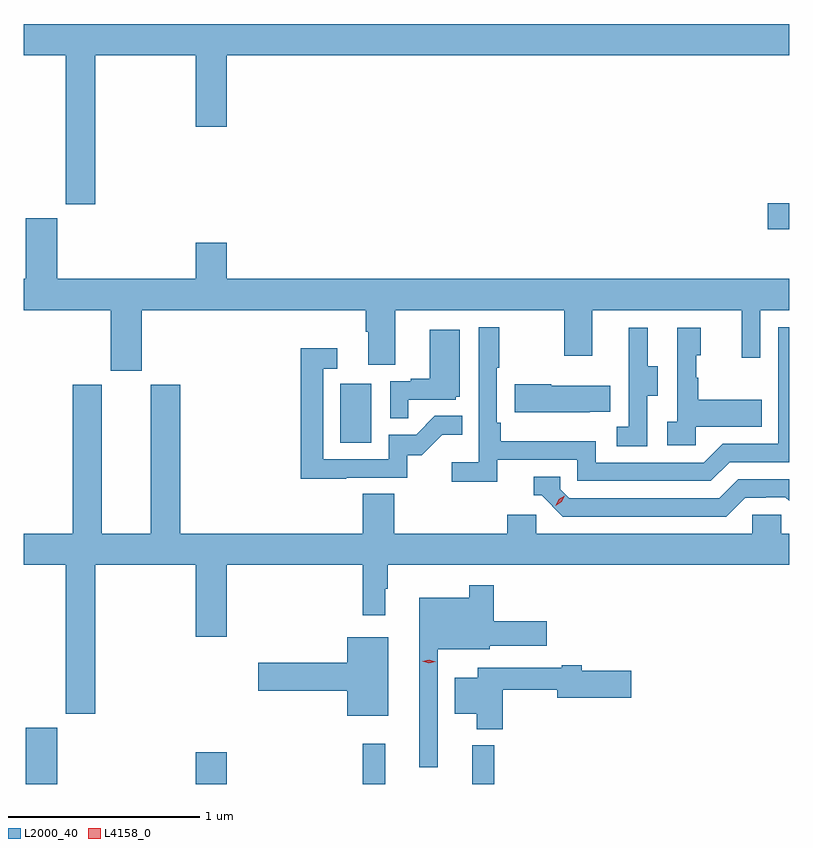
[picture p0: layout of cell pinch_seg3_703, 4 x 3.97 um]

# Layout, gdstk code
import gdstk
lib = gdstk.Library(unit=1e-6, precision=1e-09)
def R(c, l, rs):  # rectangles x0, y0, x1, y1
    for r in rs: c.add(gdstk.rectangle(r[:2], r[2:], *l))
def P(c, l, *ps):  # polygons
    for p in ps: c.add(gdstk.Polygon(p, *l))
L2000_40 = (2000, 40)
L4158_0 = (4158, 0)

pinch_seg3_703 = lib.new_cell('pinch_seg3_703')
R(pinch_seg3_703, L2000_40, [(1087.196,681.123,1087.36,681.417), (1088.084,681.123,1088.248,681.289), (1088.959,681.123,1089.077,681.334), (1089.53,681.123,1089.647,681.325), (1088.84,682.908,1089.004,683.215), (1091.076,684.023,1091.187,684.158)])
P(pinch_seg3_703, L2000_40, [(1087.559,684.932),(1088.084,684.932),(1088.084,684.558),(1088.248,684.558),(1088.248,684.932),(1091.187,684.932),(1091.187,685.096),(1087.187,685.096),(1087.187,684.932),(1087.406,684.932),(1087.406,684.153),(1087.559,684.153)],
  [(1087.804,683.6),(1088.975,683.6),(1088.975,683.488),(1088.987,683.488),(1088.987,683.314),(1089.127,683.314),(1089.127,683.6),(1090.012,683.6),(1090.012,683.361),(1090.159,683.361),(1090.159,683.6),(1090.94,683.6),(1090.94,683.352),(1091.037,683.352),(1091.037,683.6),(1091.187,683.6),(1091.187,683.764),(1088.248,683.764),(1088.248,683.953),(1088.084,683.953),(1088.084,683.764),(1087.36,683.764),(1087.36,684.081),(1087.196,684.081),(1087.196,683.764),(1087.187,683.764),(1087.187,683.6),(1087.64,683.6),(1087.64,683.283),(1087.804,683.283)],
  [(1089.662,682.818),(1090.08,682.818),(1090.08,682.707),(1090.777,682.707),(1090.876,682.806),(1091.187,682.806),(1091.187,683.511),(1091.13,683.511),(1091.13,682.902),(1090.839,682.902),(1090.74,682.803),(1090.176,682.803),(1090.176,682.915),(1089.68,682.915),(1089.68,683.011),(1089.66,683.011),(1089.66,683.299),(1089.673,683.299),(1089.673,683.512),(1089.564,683.512),(1089.564,682.804),(1089.423,682.804),(1089.423,682.702),(1089.662,682.702)],
  [(1090.446,683.152),(1090.501,683.152),(1090.501,683.307),(1090.447,683.307),(1090.447,683.509),(1090.349,683.509),(1090.349,683.295),(1090.35,683.295),(1090.35,682.991),(1090.287,682.991),(1090.287,682.888),(1090.446,682.888)],
  [(1090.698,682.991),(1091.045,682.991),(1091.045,683.131),(1090.711,683.131),(1090.711,683.246),(1090.701,683.246),(1090.701,683.364),(1090.726,683.364),(1090.726,683.509),(1090.602,683.509),(1090.602,683.018),(1090.551,683.018),(1090.551,682.893),(1090.698,682.893)],
  [(1089.197,683.133),(1089.444,683.133),(1089.444,683.148),(1089.466,683.148),(1089.466,683.497),(1089.308,683.497),(1089.308,683.242),(1089.209,683.242),(1089.209,683.229),(1089.102,683.229),(1089.102,683.035),(1089.197,683.035)],
  [(1088.873,682.725),(1089.192,682.725),(1089.192,682.842),(1089.268,682.842),(1089.375,682.949),(1089.479,682.949),(1089.479,683.048),(1089.335,683.048),(1089.237,682.95),(1089.093,682.95),(1089.093,682.821),(1088.751,682.821),(1088.751,683.295),(1088.824,683.295),(1088.824,683.401),(1088.635,683.401),(1088.635,682.72),(1088.873,682.72)],
  [(1090.145,683.069),(1090.253,683.069),(1090.253,683.206),(1089.943,683.206),(1089.943,683.214),(1089.752,683.214),(1089.752,683.066),(1090.145,683.066)],
  [(1088.957,682.432),(1088.003,682.432),(1088.003,683.211),(1087.85,683.211),(1087.85,682.432),(1087.594,682.432),(1087.594,683.211),(1087.442,683.211),(1087.442,682.432),(1087.187,682.432),(1087.187,682.268),(1087.406,682.268),(1087.406,681.489),(1087.559,681.489),(1087.559,682.268),(1088.084,682.268),(1088.084,681.894),(1088.248,681.894),(1088.248,682.268),(1088.959,682.268),(1088.959,682.005),(1089.076,682.005),(1089.076,682.145),(1089.088,682.145),(1089.088,682.268),(1091.187,682.268),(1091.187,682.432),(1091.145,682.432),(1091.145,682.53),(1090.995,682.53),(1090.995,682.432),(1089.864,682.432),(1089.864,682.53),(1089.713,682.53),(1089.713,682.432),(1089.122,682.432),(1089.122,682.64),(1088.957,682.64)],
  [(1090.957,682.62),(1091.064,682.62),(1091.064,682.623),(1091.167,682.623),(1091.187,682.603),(1091.187,682.716),(1090.92,682.716),(1090.821,682.617),(1090.038,682.617),(1089.99,682.665),(1089.99,682.728),(1089.851,682.728),(1089.851,682.632),(1089.894,682.632),(1090.005,682.521),(1090.858,682.521)],
  [(1089.351,681.827),(1089.621,681.827),(1089.621,681.845),(1089.919,681.845),(1089.919,681.975),(1089.644,681.975),(1089.644,682.162),(1089.516,682.162),(1089.516,682.096),(1089.254,682.096),(1089.254,681.21),(1089.351,681.21)],
  [(1089.091,681.889),(1088.876,681.889),(1088.876,681.758),(1088.412,681.758),(1088.412,681.611),(1088.876,681.611),(1088.876,681.479),(1089.091,681.479)],
  [(1089.689,681.616),(1089.974,681.616),(1089.974,681.574),(1090.363,681.574),(1090.363,681.716),(1090.102,681.716),(1090.102,681.745),(1089.998,681.745),(1089.998,681.732),(1089.56,681.732),(1089.56,681.679),(1089.44,681.679),(1089.44,681.491),(1089.554,681.491),(1089.554,681.41),(1089.689,681.41)])
P(pinch_seg3_703, L4158_0, [(1089.968,682.578),(1089.968,682.578),(1089.984,682.611),(1090.014,682.631),(1090.015,682.631),(1090.015,682.63),(1089.999,682.598),(1089.968,682.578)],
  [(1089.304,681.753),(1089.27,681.765),(1089.27,681.765),(1089.27,681.765),(1089.306,681.773),(1089.34,681.762),(1089.34,681.762),(1089.34,681.762)])

lib.write_gds('pinch_seg3_703.gds')
